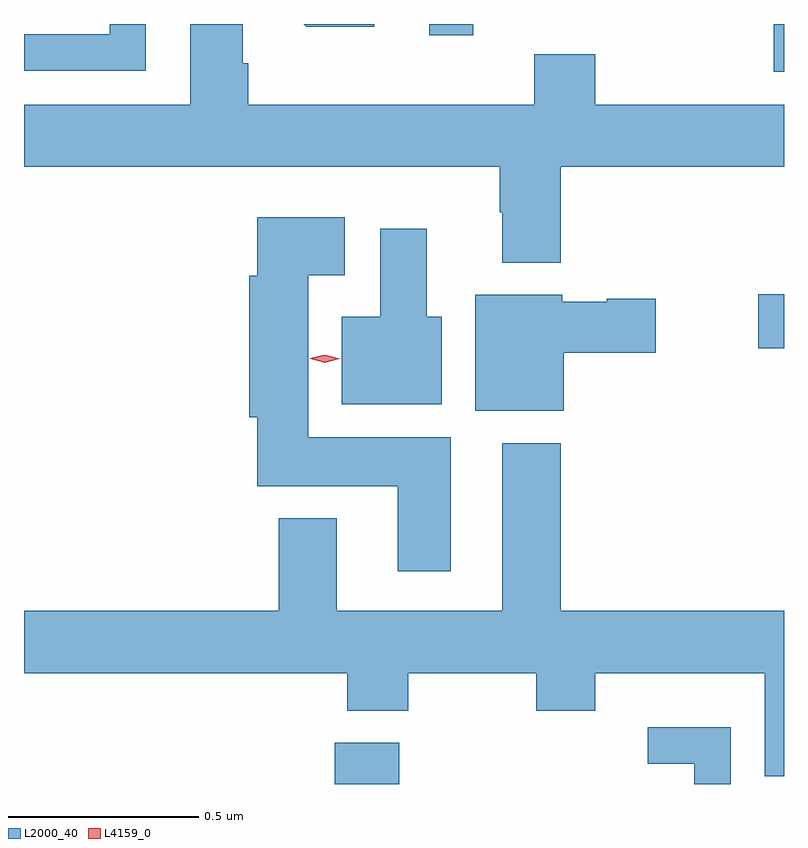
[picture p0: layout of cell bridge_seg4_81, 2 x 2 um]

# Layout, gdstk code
import gdstk
lib = gdstk.Library(unit=1e-6, precision=1e-09)
def R(c, l, rs):  # rectangles x0, y0, x1, y1
    for r in rs: c.add(gdstk.rectangle(r[:2], r[2:], *l))
def P(c, l, *ps):  # polygons
    for p in ps: c.add(gdstk.Polygon(p, *l))
L2000_40 = (2000, 40)
L4159_0 = (4159, 0)

bridge_seg4_81 = lib.new_cell('bridge_seg4_81')
R(bridge_seg4_81, L2000_40, [(435.506,775.216,435.676,775.324), (436.62,776.363,436.688,776.505), (436.661,777.09,436.688,777.216), (435.755,777.186,435.87,777.216)])
P(bridge_seg4_81, L2000_40, [(435.61,777.216),(435.424,777.216),(435.431,777.209),(435.61,777.209)],
  [(436.031,777.004),(435.278,777.004),(435.278,777.113),(435.264,777.113),(435.264,777.216),(435.125,777.216),(435.125,777.004),(434.688,777.004),(434.688,776.84),(435.94,776.84),(435.94,776.72),(435.947,776.72),(435.947,776.588),(436.1,776.588),(436.1,776.84),(436.688,776.84),(436.688,777.004),(436.191,777.004),(436.191,777.137),(436.031,777.137)],
  [(435.009,777.216),(434.913,777.216),(434.913,777.189),(434.688,777.189),(434.688,777.093),(435.009,777.093)],
  [(435.811,776.128),(435.436,776.128),(435.436,776.555),(435.532,776.555),(435.532,776.707),(435.302,776.707),(435.302,776.553),(435.281,776.553),(435.281,776.181),(435.302,776.181),(435.302,776),(435.671,776),(435.671,775.776),(435.811,775.776)],
  [(435.787,776.446),(435.748,776.446),(435.748,776.677),(435.626,776.677),(435.626,776.446),(435.524,776.446),(435.524,776.216),(435.787,776.216)],
  [(436.108,776.351),(436.351,776.351),(436.351,776.493),(436.221,776.493),(436.221,776.485),(436.104,776.485),(436.104,776.503),(435.875,776.503),(435.875,776.198),(436.108,776.198)],
  [(436.688,775.672),(436.1,775.672),(436.1,776.113),(435.947,776.113),(435.947,775.672),(435.511,775.672),(435.511,775.915),(435.359,775.915),(435.359,775.672),(434.688,775.672),(434.688,775.508),(435.539,775.508),(435.539,775.409),(435.699,775.409),(435.699,775.508),(436.036,775.508),(436.036,775.409),(436.191,775.409),(436.191,775.508),(436.637,775.508),(436.637,775.237),(436.688,775.237)],
  [(436.548,775.366),(436.329,775.366),(436.329,775.269),(436.452,775.269),(436.452,775.216),(436.548,775.216)])
P(bridge_seg4_81, L4159_0, [(435.48,776.325),(435.441,776.335),(435.441,776.335),(435.441,776.336),(435.48,776.345),(435.519,776.335),(435.52,776.335),(435.519,776.335)])

lib.write_gds('bridge_seg4_81.gds')
